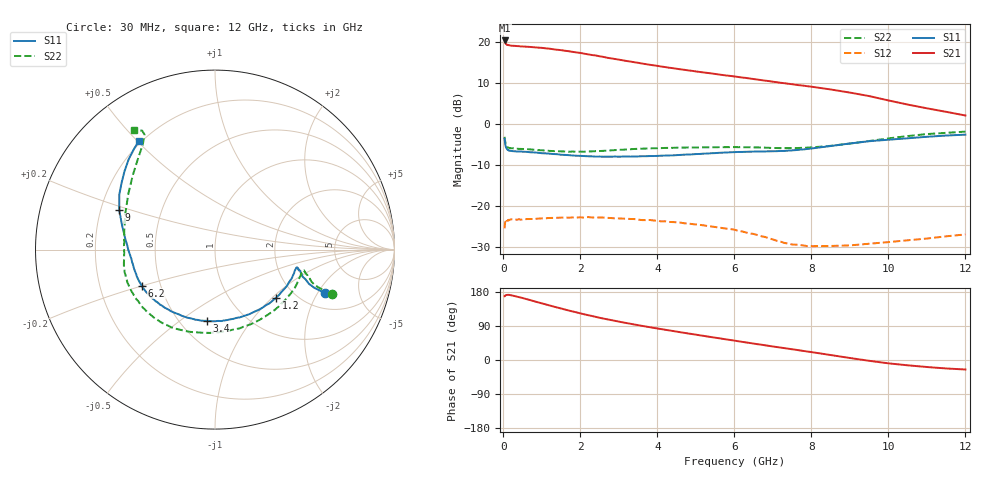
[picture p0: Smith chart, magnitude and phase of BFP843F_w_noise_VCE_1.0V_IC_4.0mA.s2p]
! Infineon Technologies  Discrete & RF Semiconductors
! BFP843F
! VCE =  1.0 V,  IC =  4.0 mA
! Common Emitter S-Parameters:  Aug 2013
# GHz  S  MA  R  50
!  f  S11  S21  S12  S22
! GHz  MAG  ANG  MAG  ANG  MAG  ANG  MAG  ANG
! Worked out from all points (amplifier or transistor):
!   103 points, 30 MHz to 12 GHz, reference 50 ohm
!   highest |S21| = 20.3 dB at 30 MHz (marker M1)
!   |S21| within 3 dB of that: start of sweep to 1.965 GHz
!   unconditionally stable (mu >= 1): 213.2 MHz to 510.4 MHz; 4.092 GHz to 4.167 GHz; 4.203 GHz to end of sweep
!   at 400 MHz: K = 1.00, MAG = 20.9 dB, |S12| = -23.2 dB
!   at 3.7 GHz: K = 0.96, MSG = 19.0 dB, |S12| = -23.5 dB
!   at 12 GHz: K = 1.62, MAG = 9.9 dB, |S12| = -27.0 dB
!   lowest NFmin = 0.87 dB at 450 MHz
!   S11 on the Smith chart (normalised r, x): 30 MHz: 2.72, -2.29; 1.2 GHz: 1.59, -1.06; 3.4 GHz: 0.67, -0.63; 6.2 GHz: 0.39, -0.20; 9 GHz: 0.28, +0.18; 12 GHz: 0.19, +0.51
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0.03  0.656 -21.5  10.39 168.2  0.0533 33.5  0.6949 -20.8
0.04  0.5953 -21.1  9.953 168.5  0.0616 26.4  0.6321 -20.3
0.05  0.5567 -20.0  9.605 170.6  0.064 21.5  0.5923 -19.7
0.07  0.5113 -17.2  9.364 171.3  0.0636 16.7  0.5532 -17.1
0.1  0.4896 -13.9  9.127 171.7  0.0662 9.6  0.5221 -14.7
0.15  0.4735 -12.7  9.089 171.8  0.0672 9.1  0.5089 -13.1
0.7  0.4507 -23.7  8.663 157.9  0.0692 1.4  0.4883 -29.7
1.2  0.4329 -38.5  8.247 143.9  0.0713 -1.4  0.4683 -49.7
1.7  0.4155 -53.2  7.678 130.5  0.0718 -4.7  0.4575 -69.0
2.1  0.4049 -64.6  7.169 120.6  0.0719 -7.7  0.4578 -83.9
2.4  0.3987 -72.7  6.815 113.7  0.0722 -8.7  0.4651 -93.6
2.7  0.3984 -80.0  6.391 107.3  0.0715 -11.8  0.4715 -102.0
3.4  0.3998 -96.8  5.642 93.7  0.0691 -15.9  0.4944 -118.0
4.1  0.4095 -112.3  4.999 81.5  0.0648 -20.1  0.5065 -130.2
5.1  0.4299 -133.4  4.296 65.2  0.0587 -25.5  0.5151 -146.0
6.1  0.4545 -151.9  3.729 49.5  0.0496 -29.1  0.5197 -161.2
6.2  0.4549 -153.8  3.671 47.9  0.0488 -29.4  0.5203 -162.6
7.3  0.4682 -173.5  3.13 31.3  0.0353 -25.0  0.5066 -179.6
8.5  0.5369 165.0  2.627 13.1  0.0325 -6.0  0.5399 157.6
9  0.5769 157.6  2.406 5.3  0.033 0.2  0.5747 147.1
10.5  0.667 139.1  1.72 -14.0  0.0381 12.7  0.7103 124.5
12  0.7393 124.9  1.265 -25.1  0.0449 22.3  0.8047 124.3
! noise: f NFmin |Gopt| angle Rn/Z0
0.45  0.87  0.19  11  0.07
0.9  0.87  0.2  21  0.08
1.5  0.95  0.2  27  0.08
1.9  1.01  0.2  42  0.08
2.4  1.04  0.19  56  0.09
3.5  1.12  0.2  83  0.14
5.5  1.25  0.19  144  0.22
10  2.02  0.4  -128  0.24
